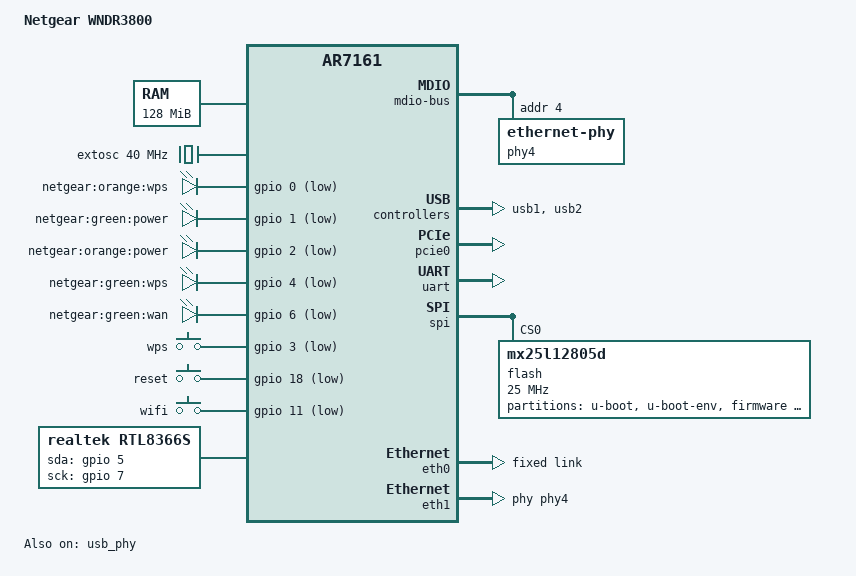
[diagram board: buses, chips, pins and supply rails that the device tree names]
// SPDX-License-Identifier: GPL-2.0-or-later OR MIT
/dts-v1/;

#include <dt-bindings/gpio/gpio.h>
#include <dt-bindings/input/input.h>

#include "ar7100.dtsi"

/ {
	compatible = "netgear,wndr3800", "qca,ar7161";
	model = "Netgear WNDR3800";

	memory@0 {
		device_type = "memory";
		reg = <0x0 0x8000000>;
	};

	extosc: ref {
		compatible = "fixed-clock";
		#clock-cells = <0>;
		clock-output-names = "ref";
		clock-frequency = <40000000>;
	};

	reset-leds {
		compatible = "reset-leds";

		wps {
			label = "netgear:green:usb";
			resets = <&rst 12>;
		};
	};

	gpio-leds {
		compatible = "gpio-leds";

		wps {
			label = "netgear:orange:wps";
			gpios = <&gpio 0 GPIO_ACTIVE_LOW>;
			default-state = "off";
		};

		power_green {
			label = "netgear:green:power";
			gpios = <&gpio 1 GPIO_ACTIVE_LOW>;
			default-state = "off";
		};

		power_orange {
			label = "netgear:orange:power";
			gpios = <&gpio 2 GPIO_ACTIVE_LOW>;
			default-state = "off";
		};

		wps_green {
			label = "netgear:green:wps";
			gpios = <&gpio 4 GPIO_ACTIVE_LOW>;
			default-state = "off";
		};

		wan_green {
			label = "netgear:green:wan";
			gpios = <&gpio 6 GPIO_ACTIVE_LOW>;
			default-state = "off";
		};
	};

	gpio-keys-polled {
		compatible = "gpio-keys-polled";
		#address-cells = <1>;
		#size-cells = <0>;
		poll-interval = <100>;

		button@0 {
			label = "wps";
			linux,code = <KEY_WPS_BUTTON>;
			gpios = <&gpio 3 GPIO_ACTIVE_LOW>;
		};

		button@1 {
			label = "reset";
			linux,code = <KEY_RESTART>;
			gpios = <&gpio 18 GPIO_ACTIVE_LOW>;
		};

		button@2 {
			label = "wifi";
			linux,code = <BTN_2>;
			gpios = <&gpio 11 GPIO_ACTIVE_LOW>;
		};
	};

	rtl8366s {
		compatible = "realtek,rtl8366s";
		gpio-sda = <&gpio 5 GPIO_ACTIVE_HIGH>;
		gpio-sck = <&gpio 7 GPIO_ACTIVE_HIGH>;

		mdio-bus {
			status = "okay";

			phy-mask = <0x10>;

			phy4: ethernet-phy@4 {
				reg = <4>;
				phy-mode = "rgmii";
			};
		};
	};
};

&usb_phy {
	status = "okay";
};

&usb1 {
	status = "okay";
};

&usb2 {
	status = "okay";
};

&pcie0 {
	status = "okay";
};

&uart {
	status = "okay";
};

&spi {
	status = "okay";
	num-cs = <1>;

	flash@0 {
		#address-cells = <1>;
		#size-cells = <1>;
		compatible = "mx25l12805d";
		reg = <0>;
		spi-max-frequency = <25000000>;

		partitions {
			compatible = "fixed-partitions";
			#address-cells = <1>;
			#size-cells = <1>;

			partition@0 {
				label = "u-boot";
				reg = <0x000000 0x050000>;
				read-only;
			};

			partition@1 {
				label = "u-boot-env";
				reg = <0x050000 0x020000>;
			};

			partition@2 {
				label = "firmware";
				reg = <0x70000 0xf80000>;
			};

			partition@3 {
				label = "art";
				reg = <0xff0000 0x010000>;
				read-only;
			};
		};
	};
};

&eth0 {
	status = "okay";

	pll-data = <0x11110000 0x00001099 0x00991099>;

	fixed-link {
		speed = <1000>;
		full-duplex;
	};
};

&eth1 {
	status = "okay";

	pll-data = <0x11110000 0x00001099 0x00991099>;

	resets = <&rst 13>;
	reset-names = "mac";

	phy-handle = <&phy4>;
};
